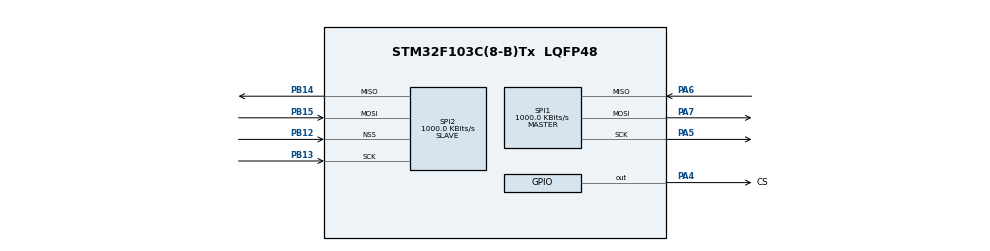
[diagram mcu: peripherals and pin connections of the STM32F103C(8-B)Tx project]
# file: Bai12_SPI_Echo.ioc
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Mcu.Family=STM32F1
Dma.SPI2_RX.0.Instance=DMA1_Channel4
PA6.Mode=Full_Duplex_Master
SPI2.VirtualNSS=VM_NSSHARD
PA7.Mode=Full_Duplex_Master
SPI1.VirtualType=VM_MASTER
SPI2.VirtualType=VM_SLAVE
Dma.SPI2_RX.0.Mode=DMA_CIRCULAR
PB15.Signal=SPI2_MOSI
PB13.Signal=SPI2_SCK
ProjectManager.StackSize=0x400
PA13.Signal=SYS_JTMS-SWDIO
Dma.SPI2_RX.0.PeriphDataAlignment=DMA_PDATAALIGN_BYTE
PA4.PinState=GPIO_PIN_SET
ProjectManager.TargetToolchain=MDK-ARM V5
SPI1.Direction=SPI_DIRECTION_2LINES
SPI1.CalculateBaudRate=1000.0 KBits/s
SPI2.BaudRatePrescaler=SPI_BAUDRATEPRESCALER_8
PB14.Signal=SPI2_MISO
PA5.Signal=SPI1_SCK
board=custom
PB15.Mode=Full_Duplex_Slave
NVIC.SPI1_IRQn=true\:0\:0\:false\:false\:true\:true\:true
RCC.APB2Freq_Value=8000000
SPI1.Mode=SPI_MODE_MASTER
PA14.Mode=Serial_Wire
PB14.Mode=Full_Duplex_Slave
SPI2.CalculateBaudRate=1000.0 KBits/s
Dma.SPI2_RX.0.MemDataAlignment=DMA_MDATAALIGN_BYTE
NVIC.SPI2_IRQn=true\:0\:0\:false\:false\:true\:true\:true
PA13.Mode=Serial_Wire
Dma.SPI2_RX.0.Priority=DMA_PRIORITY_LOW
Mcu.Name=STM32F103C(8-B)Tx
Dma.SPI2_RX.0.MemInc=DMA_MINC_ENABLE
PA4.Signal=GPIO_Output
Mcu.Package=LQFP48
PA6.Signal=SPI1_MISO
PB12.Mode=NSS_Signal_Hard_Input
SPI2.Mode=SPI_MODE_SLAVE
Dma.SPI2_RX.0.PeriphInc=DMA_PINC_DISABLE
PA14.Signal=SYS_JTCK-SWCLK
ProjectManager.HeapSize=0x200
NVIC.PriorityGroup=NVIC_PRIORITYGROUP_4
SPI2.Direction=SPI_DIRECTION_2LINES
Dma.SPI2_RX.0.Direction=DMA_PERIPH_TO_MEMORY
PB13.Mode=Full_Duplex_Slave
NVIC.DMA1_Channel4_IRQn=true\:0\:0\:false\:false\:true\:false\:true
Dma.Request0=SPI2_RX
RCC.APB1Freq_Value=8000000
SPI1.BaudRatePrescaler=SPI_BAUDRATEPRESCALER_8
PA4.GPIO_Label=CS
PB12.Signal=SPI2_NSS
PA5.Mode=Full_Duplex_Master
PA7.Signal=SPI1_MOSI

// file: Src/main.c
/* USER CODE BEGIN Header */
/**
  ******************************************************************************
  * @file           : main.c
  * @brief          : Main program body
  ******************************************************************************
  * @attention
  *
  * <h2><center>&copy; Copyright (c) 2020 STMicroelectronics.
  * All rights reserved.</center></h2>
  *
  * This software component is licensed by ST under BSD 3-Clause license,
  * the "License"; You may not use this file except in compliance with the
  * License. You may obtain a copy of the License at:
  *                        opensource.org/licenses/BSD-3-Clause
  *
  ******************************************************************************
  */
/* USER CODE END Header */

#include "main.h"

/* USER CODE BEGIN Includes */
#include <stdio.h>
#define sizeofBuff 20
uint8_t u8_SPI1_TxBuff[sizeofBuff] = "Master send";
uint8_t u8_SPI2_RxBuff[sizeofBuff];
uint8_t Count;
/* USER CODE END Includes */

SPI_HandleTypeDef hspi1;
SPI_HandleTypeDef hspi2;
DMA_HandleTypeDef hdma_spi2_rx;

void SystemClock_Config(void);
static void MX_GPIO_Init(void);
static void MX_DMA_Init(void);
static void MX_SPI1_Init(void);
static void MX_SPI2_Init(void);
/* USER CODE BEGIN PFP */
void HAL_SPI_RxCpltCallback(SPI_HandleTypeDef *hspi)
{
  /* Prevent unused argument(s) compilation warning */
  UNUSED(hspi);
	if(hspi->Instance == SPI2)
	{
		//HAL_SPI_Receive_IT(&hspi2, u8_SPI2_RxBuff,sizeofBuff);
	}
  /* NOTE : This function should not be modified, when the callback is needed,
            the HAL_SPI_RxCpltCallback should be implemented in the user file
   */
}
/* USER CODE END PFP */

int main(void)
{

  /* MCU Configuration--------------------------------------------------------*/

  /* Reset of all peripherals, Initializes the Flash interface and the Systick. */
  HAL_Init();

  /* Configure the system clock */
  SystemClock_Config();

  /* Initialize all configured peripherals */
  MX_GPIO_Init();
  MX_DMA_Init();
  MX_SPI1_Init();
  MX_SPI2_Init();
  /* USER CODE BEGIN 2 */
	//HAL_SPI_Receive_IT(&hspi2, u8_SPI2_RxBuff,sizeofBuff);
	HAL_SPI_Receive_DMA(&hspi2,u8_SPI2_RxBuff, sizeofBuff);
	HAL_SPI_Transmit(&hspi1,u8_SPI1_TxBuff,sizeofBuff,100);
  /* USER CODE END 2 */

  /* Infinite loop */
  while (1)
  {

    /* USER CODE BEGIN 3 */
			sprintf((char*)u8_SPI1_TxBuff, "Gui lan thu: %d \n", Count);
			HAL_GPIO_WritePin(CS_GPIO_Port, CS_Pin, GPIO_PIN_RESET);
			HAL_SPI_Transmit(&hspi1,u8_SPI1_TxBuff,sizeofBuff,100);
			HAL_GPIO_WritePin(CS_GPIO_Port, CS_Pin, GPIO_PIN_SET);
			Count++;
			HAL_Delay(1000);
  }
  /* USER CODE END 3 */
}

void SystemClock_Config(void)
{
  RCC_OscInitTypeDef RCC_OscInitStruct = {0};
  RCC_ClkInitTypeDef RCC_ClkInitStruct = {0};

  /** Initializes the CPU, AHB and APB busses clocks
  */
  RCC_OscInitStruct.OscillatorType = RCC_OSCILLATORTYPE_HSI;
  RCC_OscInitStruct.HSIState = RCC_HSI_ON;
  RCC_OscInitStruct.HSICalibrationValue = RCC_HSICALIBRATION_DEFAULT;
  RCC_OscInitStruct.PLL.PLLState = RCC_PLL_NONE;
  if (HAL_RCC_OscConfig(&RCC_OscInitStruct) != HAL_OK)
  {
    Error_Handler();
  }
  /** Initializes the CPU, AHB and APB busses clocks
  */
  RCC_ClkInitStruct.ClockType = RCC_CLOCKTYPE_HCLK|RCC_CLOCKTYPE_SYSCLK
                              |RCC_CLOCKTYPE_PCLK1|RCC_CLOCKTYPE_PCLK2;
  RCC_ClkInitStruct.SYSCLKSource = RCC_SYSCLKSOURCE_HSI;
  RCC_ClkInitStruct.AHBCLKDivider = RCC_SYSCLK_DIV1;
  RCC_ClkInitStruct.APB1CLKDivider = RCC_HCLK_DIV1;
  RCC_ClkInitStruct.APB2CLKDivider = RCC_HCLK_DIV1;

  if (HAL_RCC_ClockConfig(&RCC_ClkInitStruct, FLASH_LATENCY_0) != HAL_OK)
  {
    Error_Handler();
  }
}

static void MX_SPI1_Init(void)
{

  /* SPI1 parameter configuration*/
  hspi1.Instance = SPI1;
  hspi1.Init.Mode = SPI_MODE_MASTER;
  hspi1.Init.Direction = SPI_DIRECTION_2LINES;
  hspi1.Init.DataSize = SPI_DATASIZE_8BIT;
  hspi1.Init.CLKPolarity = SPI_POLARITY_LOW;
  hspi1.Init.CLKPhase = SPI_PHASE_1EDGE;
  hspi1.Init.NSS = SPI_NSS_SOFT;
  hspi1.Init.BaudRatePrescaler = SPI_BAUDRATEPRESCALER_8;
  hspi1.Init.FirstBit = SPI_FIRSTBIT_MSB;
  hspi1.Init.TIMode = SPI_TIMODE_DISABLE;
  hspi1.Init.CRCCalculation = SPI_CRCCALCULATION_DISABLE;
  hspi1.Init.CRCPolynomial = 10;
  if (HAL_SPI_Init(&hspi1) != HAL_OK)
  {
    Error_Handler();
  }

}

static void MX_SPI2_Init(void)
{

  /* SPI2 parameter configuration*/
  hspi2.Instance = SPI2;
  hspi2.Init.Mode = SPI_MODE_SLAVE;
  hspi2.Init.Direction = SPI_DIRECTION_2LINES;
  hspi2.Init.DataSize = SPI_DATASIZE_8BIT;
  hspi2.Init.CLKPolarity = SPI_POLARITY_LOW;
  hspi2.Init.CLKPhase = SPI_PHASE_1EDGE;
  hspi2.Init.NSS = SPI_NSS_HARD_INPUT;
  hspi2.Init.BaudRatePrescaler = SPI_BAUDRATEPRESCALER_8;
  hspi2.Init.FirstBit = SPI_FIRSTBIT_MSB;
  hspi2.Init.TIMode = SPI_TIMODE_DISABLE;
  hspi2.Init.CRCCalculation = SPI_CRCCALCULATION_DISABLE;
  hspi2.Init.CRCPolynomial = 10;
  if (HAL_SPI_Init(&hspi2) != HAL_OK)
  {
    Error_Handler();
  }

}

static void MX_DMA_Init(void)
{

  /* DMA controller clock enable */
  __HAL_RCC_DMA1_CLK_ENABLE();

  /* DMA interrupt init */
  /* DMA1_Channel4_IRQn interrupt configuration */
  HAL_NVIC_SetPriority(DMA1_Channel4_IRQn, 0, 0);
  HAL_NVIC_EnableIRQ(DMA1_Channel4_IRQn);

}

static void MX_GPIO_Init(void)
{
  GPIO_InitTypeDef GPIO_InitStruct = {0};

  /* GPIO Ports Clock Enable */
  __HAL_RCC_GPIOA_CLK_ENABLE();
  __HAL_RCC_GPIOB_CLK_ENABLE();

  /*Configure GPIO pin Output Level */
  HAL_GPIO_WritePin(CS_GPIO_Port, CS_Pin, GPIO_PIN_SET);

  /*Configure GPIO pin : CS_Pin */
  GPIO_InitStruct.Pin = CS_Pin;
  GPIO_InitStruct.Mode = GPIO_MODE_OUTPUT_PP;
  GPIO_InitStruct.Pull = GPIO_NOPULL;
  GPIO_InitStruct.Speed = GPIO_SPEED_FREQ_LOW;
  HAL_GPIO_Init(CS_GPIO_Port, &GPIO_InitStruct);

}

void Error_Handler(void)
{
}

/************************ (C) COPYRIGHT STMicroelectronics *****END OF FILE****/
